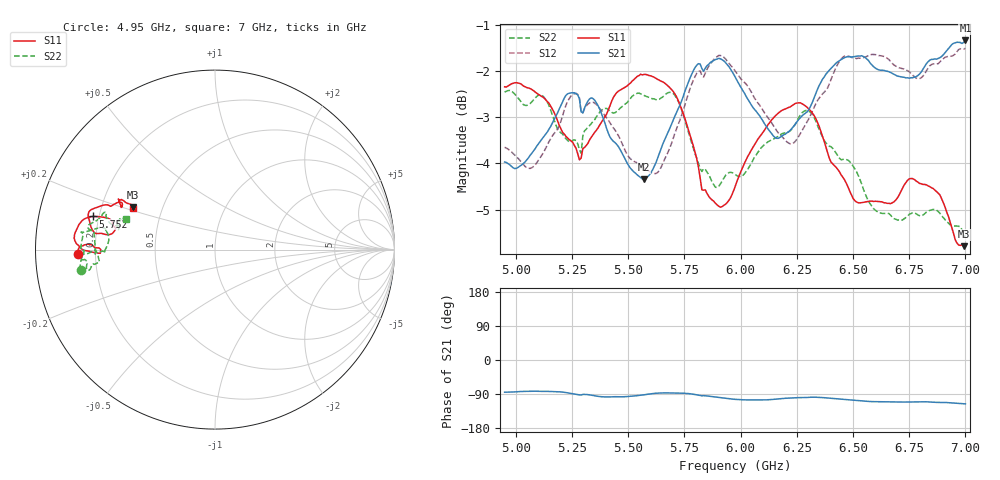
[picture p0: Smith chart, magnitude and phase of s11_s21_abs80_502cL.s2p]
! MS46122B
! 1919307/90821646
! 5/18/2022 2:43:04 PM
! C:\USERS\PC_\DESKTOP\CARACTERIZACION\MEDICIONES\S11_S21_ABS8_502CL.S2P
! CHANNEL.1
! TR.MEASUREMENT
! CORRECTED.DATA
# GHZ S RI R 50.0
! FREQ.GHZ  S11RE  S11IM  S21RE  S21IM  S12RE  S12IM  S22RE  S22IM
!; PortSelection: Port_12
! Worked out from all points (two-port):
!   272 points, 4.95 GHz to 7 GHz, reference 50 ohm
!   highest |S21| = -1.34 dB at 7 GHz (marker M1); lowest = -4.3 dB at 5.57 GHz (marker M2)
!   |S21| within 3 dB of the highest: start of sweep to end of sweep
!   lowest |S11| = -5.8 dB at 6.992 GHz (marker M3), VSWR 3.11, Z = 16.9 + j10.8 ohm
!   |S11| at or under -10 dB: nowhere
!   |S22| runs from -5.6 to -2.4 dB; largest |S21 - S12| = 0.048
!   S11 on the Smith chart (normalised r, x): 4.95 GHz: 0.13, -0.01; 5.752 GHz: 0.18, +0.13; 7 GHz: 0.34, +0.21
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4.95  -0.7631 -0.0228  0.0548 -0.6306  0.0598 -0.6539  -0.7452 -0.1125
5.055904  -0.7612 0.00132  0.0831 -0.6342  0.0631 -0.62  -0.7306 -0.0033
5.116421  -0.7448 0.0198  0.084 -0.6652  0.0687 -0.6407  -0.7471 -0.0252
5.229889  -0.6722 0.0126  0.0442 -0.7488  0.0665 -0.7333  -0.6682 -0.00583
5.29797  -0.6541 -0.0202  -0.0108 -0.7156  0.0185 -0.7149  -0.6706 -0.0822
5.373616  -0.6944 -0.0118  -0.0815 -0.7172  -0.0493 -0.721  -0.7077 -0.1158
5.464391  -0.7569 0.0206  -0.0806 -0.6477  -0.1007 -0.6624  -0.7217 -0.0573
5.570295  -0.7838 0.0749  -0.0198 -0.6063  -0.0292 -0.6237  -0.7471 0.0148
5.638376  -0.7665 0.1211  0.0323 -0.6459  0.0176 -0.6199  -0.7349 0.0873
5.751845  -0.6815 0.1848  0.0281 -0.7541  0.0249 -0.7287  -0.695 0.1073
5.827491  -0.5702 0.1545  -0.0614 -0.7969  -0.0343 -0.7849  -0.6086 0.1082
5.903137  -0.554 0.1199  -0.1252 -0.8099  -0.0831 -0.8213  -0.5949 0.0391
5.978782  -0.5928 0.0833  -0.1882 -0.7566  -0.1741 -0.7733  -0.6127 -0.0145
6.054428  -0.6503 0.0896  -0.192 -0.6995  -0.2163 -0.7159  -0.6355 -0.0108
6.152768  -0.6953 0.1412  -0.1556 -0.6547  -0.1713 -0.6675  -0.6701 0.0449
6.319188  -0.6778 0.228  -0.1047 -0.7271  -0.1113 -0.7097  -0.6981 0.1418
6.425092  -0.5748 0.2448  -0.1709 -0.7918  -0.1283 -0.7917  -0.6125 0.2083
6.500738  -0.517 0.2584  -0.2263 -0.7909  -0.2014 -0.795  -0.602 0.1729
6.659594  -0.519 0.2383  -0.2809 -0.7411  -0.2938 -0.7625  -0.5437 0.1194
6.810886  -0.535 0.2688  -0.273 -0.749  -0.2838 -0.7307  -0.5334 0.1514
6.992435  -0.456 0.2357  -0.3664 -0.77  -0.3453 -0.7639  -0.4981 0.1752
7  -0.4588 0.2319  -0.3724 -0.7717  -0.35 -0.764  -0.4979 0.1687
